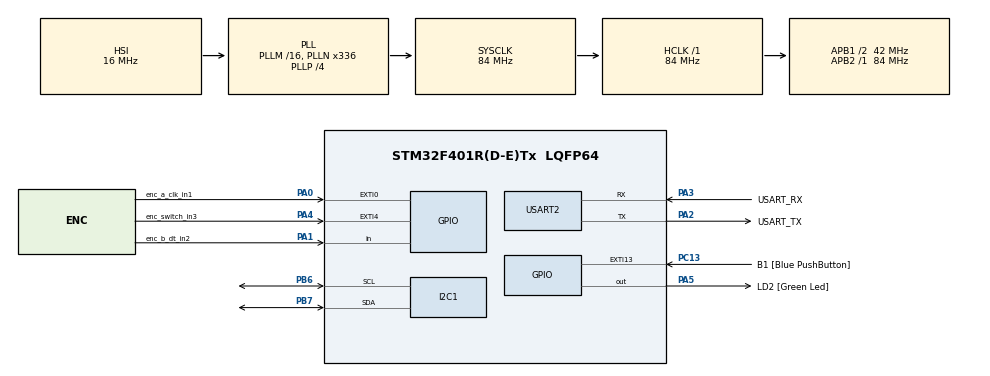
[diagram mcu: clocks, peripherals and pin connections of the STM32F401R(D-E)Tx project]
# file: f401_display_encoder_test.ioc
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Mcu.Family=STM32F4
Mcu.Name=STM32F401R(D-E)Tx
Mcu.Package=LQFP64
NVIC.EXTI0_IRQn=true\:0\:0\:false\:false\:true\:true\:true\:true
NVIC.EXTI15_10_IRQn=true\:0\:0\:false\:false\:true\:true\:true\:true
NVIC.EXTI4_IRQn=true\:0\:0\:false\:false\:true\:true\:true\:true
NVIC.PriorityGroup=NVIC_PRIORITYGROUP_0
NVIC.TIM5_IRQn=true\:0\:0\:false\:false\:true\:true\:true\:true
PA0-WKUP.GPIO_Label=enc_a_clk_in1
PA0-WKUP.GPIO_PuPd=GPIO_PULLUP
PA0-WKUP.Signal=GPXTI0
PA1.GPIO_Label=enc_b_dt_in2
PA1.GPIO_PuPd=GPIO_PULLUP
PA1.Signal=GPIO_Input
PA13.GPIO_Label=TMS
PA13.Mode=Serial_Wire
PA13.Signal=SYS_JTMS-SWDIO
PA14.GPIO_Label=TCK
PA14.Mode=Serial_Wire
PA14.Signal=SYS_JTCK-SWCLK
PA2.GPIO_Label=USART_TX
PA2.GPIO_Mode=GPIO_MODE_AF_PP
PA2.GPIO_PuPd=GPIO_NOPULL
PA2.GPIO_Speed=GPIO_SPEED_FREQ_LOW
PA2.Mode=Asynchronous
PA2.Signal=USART2_TX
PA3.GPIO_Label=USART_RX
PA3.GPIO_Mode=GPIO_MODE_AF_PP
PA3.GPIO_PuPd=GPIO_NOPULL
PA3.GPIO_Speed=GPIO_SPEED_FREQ_LOW
PA3.Mode=Asynchronous
PA3.Signal=USART2_RX
PA4.GPIO_Label=enc_switch_in3
PA4.GPIO_PuPd=GPIO_PULLUP
PA4.Signal=GPXTI4
PA5.GPIO_Label=LD2 [Green Led]
PA5.GPIO_Mode=GPIO_MODE_OUTPUT_PP
PA5.GPIO_PuPd=GPIO_NOPULL
PA5.GPIO_Speed=GPIO_SPEED_FREQ_LOW
PA5.Signal=GPIO_Output
PB3.GPIO_Label=SWO
PB3.Signal=SYS_JTDO-SWO
PB6.GPIO_Pu=GPIO_PULLUP
PB6.Mode=I2C
PB6.Signal=I2C1_SCL
PB7.GPIO_Pu=GPIO_PULLUP
PB7.Mode=I2C
PB7.Signal=I2C1_SDA
PC13-ANTI_TAMP.GPIO_Label=B1 [Blue PushButton]
PC13-ANTI_TAMP.GPIO_ModeDefaultEXTI=GPIO_MODE_IT_FALLING
PC13-ANTI_TAMP.GPIO_PuPd=GPIO_NOPULL
PC13-ANTI_TAMP.Signal=GPXTI13
PC14-OSC32_IN.Mode=LSE-External-Oscillator
PC14-OSC32_IN.Signal=RCC_OSC32_IN
PC15-OSC32_OUT.Mode=LSE-External-Oscillator
PC15-OSC32_OUT.Signal=RCC_OSC32_OUT
PH0\ -\ OSC_IN.Mode=HSE-External-Clock-Source
PH0\ -\ OSC_IN.Signal=RCC_OSC_IN
PH1\ -\ OSC_OUT.Mode=HSE-External-Clock-Source
PH1\ -\ OSC_OUT.Signal=RCC_OSC_OUT
ProjectManager.HeapSize=0x200
ProjectManager.StackSize=0x400
ProjectManager.TargetToolchain=STM32CubeIDE
RCC.48MHZClocksFreq_Value=48000000
RCC.AHBFreq_Value=84000000
RCC.APB1CLKDivider=RCC_HCLK_DIV2
RCC.APB1Freq_Value=42000000
RCC.APB1TimFreq_Value=84000000
RCC.APB2Freq_Value=84000000
RCC.APB2TimFreq_Value=84000000
RCC.CortexFreq_Value=84000000
RCC.HCLKFreq_Value=84000000
RCC.HSE_VALUE=8000000
RCC.HSI_VALUE=16000000
RCC.PLLN=336
RCC.PLLP=RCC_PLLP_DIV4
RCC.PLLQ=7
RCC.SYSCLKFreq_VALUE=84000000
RCC.SYSCLKSource=RCC_SYSCLKSOURCE_PLLCLK
RCC.VCOOutputFreq_Value=336000000
TIM5.Period=8400
TIM5.Prescaler=100
USART2.VirtualMode=VM_ASYNC
VP_TIM5_VS_ClockSourceINT.Mode=Internal
VP_TIM5_VS_OPM.Mode=OPM_bit
board=NUCLEO-F401RE

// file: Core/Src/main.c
/* USER CODE BEGIN Header */
/**
  ******************************************************************************
  * @file           : main.c
  * @brief          : Main program body
  ******************************************************************************
  * @attention
  *
  * Copyright (c) 2024 STMicroelectronics.
  * All rights reserved.
  *
  * This software is licensed under terms that can be found in the LICENSE file
  * in the root directory of this software component.
  * If no LICENSE file comes with this software, it is provided AS-IS.
  *
  ******************************************************************************
  */
/* USER CODE END Header */
#include "main.h"

/* USER CODE BEGIN Includes */
#include <stdbool.h>
#include "ssd1306.h"
#include "fonts.h"
#include "display.h"
#include "filemanager.h"
#include "audio.h"
/* USER CODE END Includes */

I2C_HandleTypeDef hi2c1;

TIM_HandleTypeDef htim5;

UART_HandleTypeDef huart2;

/* USER CODE BEGIN PV */
// Filemanager
FileManager fm;
uint32_t rotary_enc_count = 0;
bool switch_push_button = false;
bool debounce = false;
/* USER CODE END PV */

void SystemClock_Config(void);
static void MX_GPIO_Init(void);
static void MX_USART2_UART_Init(void);
static void MX_I2C1_Init(void);
static void MX_TIM5_Init(void);

int main(void)
{

  /* MCU Configuration--------------------------------------------------------*/

  /* Reset of all peripherals, Initializes the Flash interface and the Systick. */
  HAL_Init();

  /* Configure the system clock */
  SystemClock_Config();

  /* Initialize all configured peripherals */
  MX_GPIO_Init();
  MX_USART2_UART_Init();
  MX_I2C1_Init();
  MX_TIM5_Init();
  /* USER CODE BEGIN 2 */

  // Init lcd using one of the stm32HAL i2c typedefs
  if (ssd1306_Init(&hi2c1) != 0) {
    Error_Handler();
  }
  HAL_Delay(1000);

  ssd1306_Fill(Black);
  ssd1306_UpdateScreen(&hi2c1);

  HAL_Delay(1000);

  initializeFileManager(&fm);

  // Adding some dummy files
  addFile(&fm, "fart1.wav");
  addFile(&fm, "fart2.wav");
  addFile(&fm, "fart3.wav");
  addFile(&fm, "fart4.wav");
  addFile(&fm, "fart5.wav");
  addFile(&fm, "fart6.wav");
  addFile(&fm, "fart7.wav");
  addFile(&fm, "fart8.wav");
  addFile(&fm, "fart9.wav");
  addFile(&fm, "fart10.wav");
  addFile(&fm, "fart11.wav");
  addFile(&fm, "fart12.wav");

  // uint32_t num_samples = 2000;
  // int16_t samples[num_samples];
  // generateWaveform(samples, num_samples);
  // drawWaveform(&hi2c1,samples, num_samples);
  /* USER CODE END 2 */

  /* Infinite loop */
  /* USER CODE BEGIN WHILE */
  while (1)
  {
    // Displaying the files
    char *filenames[MAX_FILES];
    for (int i = 0; i < fm.num_files; i++) {
        filenames[i] = fm.files[i].filename; // Extracting filenames from File structures
    }
    char *currentFileName = fm.files[fm.current_file_index].filename;
    displayStrings(&hi2c1, filenames, fm.num_files, fm.cursor_index);
    renderSelectedFile(&hi2c1, currentFileName);
    // Update display
    ssd1306_UpdateScreen(&hi2c1);
    /* USER CODE END WHILE */

  }
}

void SystemClock_Config(void)
{
  RCC_OscInitTypeDef RCC_OscInitStruct = {0};
  RCC_ClkInitTypeDef RCC_ClkInitStruct = {0};

  /** Configure the main internal regulator output voltage
  */
  __HAL_RCC_PWR_CLK_ENABLE();
  __HAL_PWR_VOLTAGESCALING_CONFIG(PWR_REGULATOR_VOLTAGE_SCALE2);

  /** Initializes the RCC Oscillators according to the specified parameters
  * in the RCC_OscInitTypeDef structure.
  */
  RCC_OscInitStruct.OscillatorType = RCC_OSCILLATORTYPE_HSI;
  RCC_OscInitStruct.HSIState = RCC_HSI_ON;
  RCC_OscInitStruct.HSICalibrationValue = RCC_HSICALIBRATION_DEFAULT;
  RCC_OscInitStruct.PLL.PLLState = RCC_PLL_ON;
  RCC_OscInitStruct.PLL.PLLSource = RCC_PLLSOURCE_HSI;
  RCC_OscInitStruct.PLL.PLLM = 16;
  RCC_OscInitStruct.PLL.PLLN = 336;
  RCC_OscInitStruct.PLL.PLLP = RCC_PLLP_DIV4;
  RCC_OscInitStruct.PLL.PLLQ = 7;
  if (HAL_RCC_OscConfig(&RCC_OscInitStruct) != HAL_OK)
  {
    Error_Handler();
  }

  /** Initializes the CPU, AHB and APB buses clocks
  */
  RCC_ClkInitStruct.ClockType = RCC_CLOCKTYPE_HCLK|RCC_CLOCKTYPE_SYSCLK
                              |RCC_CLOCKTYPE_PCLK1|RCC_CLOCKTYPE_PCLK2;
  RCC_ClkInitStruct.SYSCLKSource = RCC_SYSCLKSOURCE_PLLCLK;
  RCC_ClkInitStruct.AHBCLKDivider = RCC_SYSCLK_DIV1;
  RCC_ClkInitStruct.APB1CLKDivider = RCC_HCLK_DIV2;
  RCC_ClkInitStruct.APB2CLKDivider = RCC_HCLK_DIV1;

  if (HAL_RCC_ClockConfig(&RCC_ClkInitStruct, FLASH_LATENCY_2) != HAL_OK)
  {
    Error_Handler();
  }
}

static void MX_I2C1_Init(void)
{

  hi2c1.Instance = I2C1;
  hi2c1.Init.ClockSpeed = 100000;
  hi2c1.Init.DutyCycle = I2C_DUTYCYCLE_2;
  hi2c1.Init.OwnAddress1 = 0;
  hi2c1.Init.AddressingMode = I2C_ADDRESSINGMODE_7BIT;
  hi2c1.Init.DualAddressMode = I2C_DUALADDRESS_DISABLE;
  hi2c1.Init.OwnAddress2 = 0;
  hi2c1.Init.GeneralCallMode = I2C_GENERALCALL_DISABLE;
  hi2c1.Init.NoStretchMode = I2C_NOSTRETCH_DISABLE;
  if (HAL_I2C_Init(&hi2c1) != HAL_OK)
  {
    Error_Handler();
  }

}

static void MX_TIM5_Init(void)
{

  TIM_ClockConfigTypeDef sClockSourceConfig = {0};
  TIM_MasterConfigTypeDef sMasterConfig = {0};

  htim5.Instance = TIM5;
  htim5.Init.Prescaler = 100;
  htim5.Init.CounterMode = TIM_COUNTERMODE_UP;
  htim5.Init.Period = 8400;
  htim5.Init.ClockDivision = TIM_CLOCKDIVISION_DIV1;
  htim5.Init.AutoReloadPreload = TIM_AUTORELOAD_PRELOAD_DISABLE;
  if (HAL_TIM_Base_Init(&htim5) != HAL_OK)
  {
    Error_Handler();
  }
  sClockSourceConfig.ClockSource = TIM_CLOCKSOURCE_INTERNAL;
  if (HAL_TIM_ConfigClockSource(&htim5, &sClockSourceConfig) != HAL_OK)
  {
    Error_Handler();
  }
  if (HAL_TIM_OnePulse_Init(&htim5, TIM_OPMODE_SINGLE) != HAL_OK)
  {
    Error_Handler();
  }
  sMasterConfig.MasterOutputTrigger = TIM_TRGO_RESET;
  sMasterConfig.MasterSlaveMode = TIM_MASTERSLAVEMODE_DISABLE;
  if (HAL_TIMEx_MasterConfigSynchronization(&htim5, &sMasterConfig) != HAL_OK)
  {
    Error_Handler();
  }

}

static void MX_USART2_UART_Init(void)
{

  huart2.Instance = USART2;
  huart2.Init.BaudRate = 115200;
  huart2.Init.WordLength = UART_WORDLENGTH_8B;
  huart2.Init.StopBits = UART_STOPBITS_1;
  huart2.Init.Parity = UART_PARITY_NONE;
  huart2.Init.Mode = UART_MODE_TX_RX;
  huart2.Init.HwFlowCtl = UART_HWCONTROL_NONE;
  huart2.Init.OverSampling = UART_OVERSAMPLING_16;
  if (HAL_UART_Init(&huart2) != HAL_OK)
  {
    Error_Handler();
  }

}

static void MX_GPIO_Init(void)
{
  GPIO_InitTypeDef GPIO_InitStruct = {0};

  /* GPIO Ports Clock Enable */
  __HAL_RCC_GPIOC_CLK_ENABLE();
  __HAL_RCC_GPIOH_CLK_ENABLE();
  __HAL_RCC_GPIOA_CLK_ENABLE();
  __HAL_RCC_GPIOB_CLK_ENABLE();

  /*Configure GPIO pin Output Level */
  HAL_GPIO_WritePin(LD2_GPIO_Port, LD2_Pin, GPIO_PIN_RESET);

  /*Configure GPIO pin : B1_Pin */
  GPIO_InitStruct.Pin = B1_Pin;
  GPIO_InitStruct.Mode = GPIO_MODE_IT_FALLING;
  GPIO_InitStruct.Pull = GPIO_NOPULL;
  HAL_GPIO_Init(B1_GPIO_Port, &GPIO_InitStruct);

  /*Configure GPIO pins : enc_a_clk_in1_Pin enc_switch_in3_Pin */
  GPIO_InitStruct.Pin = enc_a_clk_in1_Pin|enc_switch_in3_Pin;
  GPIO_InitStruct.Mode = GPIO_MODE_IT_RISING;
  GPIO_InitStruct.Pull = GPIO_PULLUP;
  HAL_GPIO_Init(GPIOA, &GPIO_InitStruct);

  /*Configure GPIO pin : enc_b_dt_in2_Pin */
  GPIO_InitStruct.Pin = enc_b_dt_in2_Pin;
  GPIO_InitStruct.Mode = GPIO_MODE_INPUT;
  GPIO_InitStruct.Pull = GPIO_PULLUP;
  HAL_GPIO_Init(enc_b_dt_in2_GPIO_Port, &GPIO_InitStruct);

  /*Configure GPIO pin : LD2_Pin */
  GPIO_InitStruct.Pin = LD2_Pin;
  GPIO_InitStruct.Mode = GPIO_MODE_OUTPUT_PP;
  GPIO_InitStruct.Pull = GPIO_NOPULL;
  GPIO_InitStruct.Speed = GPIO_SPEED_FREQ_LOW;
  HAL_GPIO_Init(LD2_GPIO_Port, &GPIO_InitStruct);

  /* EXTI interrupt init*/
  HAL_NVIC_SetPriority(EXTI0_IRQn, 0, 0);
  HAL_NVIC_EnableIRQ(EXTI0_IRQn);

  HAL_NVIC_SetPriority(EXTI4_IRQn, 0, 0);
  HAL_NVIC_EnableIRQ(EXTI4_IRQn);

  HAL_NVIC_SetPriority(EXTI15_10_IRQn, 0, 0);
  HAL_NVIC_EnableIRQ(EXTI15_10_IRQn);

}

/* USER CODE BEGIN 4 */
void HAL_GPIO_EXTI_Callback(uint16_t GPIO_Pin) {

    // werte Encoder aus Rotor DC Motor aus
    if (GPIO_Pin == enc_a_clk_in1_Pin && !debounce) {
          __HAL_TIM_CLEAR_FLAG(&htim5, TIM_FLAG_UPDATE);
          HAL_TIM_Base_Start_IT(&htim5);
          debounce = true;
       //wenn A High und B High, increment Encoder Count
        if (HAL_GPIO_ReadPin(enc_b_dt_in2_GPIO_Port, enc_b_dt_in2_Pin)) {
          rotary_enc_count--;
          cursorDown(&fm);
        } else {
          // wenn A High und B Low, decrement Encoder Count
            rotary_enc_count++;
            cursorUp(&fm);
        }
    }

    if(GPIO_Pin == enc_switch_in3_Pin && !debounce){
      __HAL_TIM_CLEAR_FLAG(&htim5, TIM_FLAG_UPDATE);
      HAL_TIM_Base_Start_IT(&htim5);
      debounce = true;
      selectFile(&fm);
    }
}
void HAL_TIM_PeriodElapsedCallback(TIM_HandleTypeDef *htim) {
    // reset debounce flag nach Timer5 elapsed
    if (htim == &htim5) {
        HAL_TIM_Base_Stop_IT(&htim5);
        debounce = false;
    }
}
/* USER CODE END 4 */

void Error_Handler(void)
{
  __disable_irq();
  while (1)
  {
  }
}
